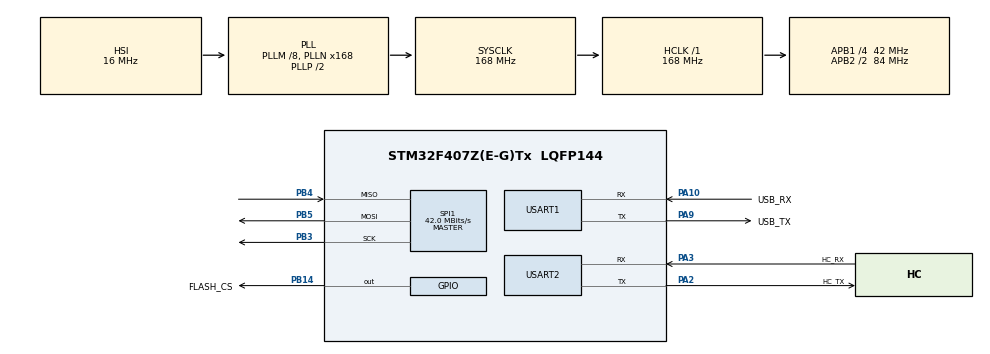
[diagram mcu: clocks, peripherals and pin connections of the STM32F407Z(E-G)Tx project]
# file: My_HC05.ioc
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Dma.Request0=USART2_TX
Dma.Request1=USART2_RX
Dma.USART2_RX.1.Direction=DMA_PERIPH_TO_MEMORY
Dma.USART2_RX.1.FIFOMode=DMA_FIFOMODE_DISABLE
Dma.USART2_RX.1.Instance=DMA1_Stream5
Dma.USART2_RX.1.MemDataAlignment=DMA_MDATAALIGN_BYTE
Dma.USART2_RX.1.MemInc=DMA_MINC_ENABLE
Dma.USART2_RX.1.Mode=DMA_CIRCULAR
Dma.USART2_RX.1.PeriphDataAlignment=DMA_PDATAALIGN_BYTE
Dma.USART2_RX.1.PeriphInc=DMA_PINC_DISABLE
Dma.USART2_RX.1.Priority=DMA_PRIORITY_LOW
Dma.USART2_TX.0.Direction=DMA_MEMORY_TO_PERIPH
Dma.USART2_TX.0.FIFOMode=DMA_FIFOMODE_DISABLE
Dma.USART2_TX.0.Instance=DMA1_Stream6
Dma.USART2_TX.0.MemDataAlignment=DMA_MDATAALIGN_BYTE
Dma.USART2_TX.0.MemInc=DMA_MINC_ENABLE
Dma.USART2_TX.0.Mode=DMA_NORMAL
Dma.USART2_TX.0.PeriphDataAlignment=DMA_PDATAALIGN_BYTE
Dma.USART2_TX.0.PeriphInc=DMA_PINC_DISABLE
Dma.USART2_TX.0.Priority=DMA_PRIORITY_LOW
Mcu.Family=STM32F4
Mcu.Name=STM32F407Z(E-G)Tx
Mcu.Package=LQFP144
NVIC.DMA1_Stream5_IRQn=true\:0\:0\:false\:false\:true\:false\:true
NVIC.DMA1_Stream6_IRQn=true\:0\:0\:false\:false\:true\:false\:true
NVIC.PriorityGroup=NVIC_PRIORITYGROUP_4
NVIC.TIM8_TRG_COM_TIM14_IRQn=true\:1\:0\:true\:false\:true\:true\:true
NVIC.USART1_IRQn=true\:0\:0\:false\:false\:true\:true\:true
NVIC.USART2_IRQn=true\:0\:0\:false\:false\:true\:true\:true
PA10.GPIO_Label=USB_RX
PA10.Mode=Asynchronous
PA10.Signal=USART1_RX
PA13.Mode=Serial_Wire
PA13.Signal=SYS_JTMS-SWDIO
PA14.Mode=Serial_Wire
PA14.Signal=SYS_JTCK-SWCLK
PA2.GPIO_Label=HC_TX
PA2.Mode=Asynchronous
PA2.Signal=USART2_TX
PA3.GPIO_Label=HC_RX
PA3.Mode=Asynchronous
PA3.Signal=USART2_RX
PA9.GPIO_Label=USB_TX
PA9.Mode=Asynchronous
PA9.Signal=USART1_TX
PB14.GPIO_Label=FLASH_CS
PB14.Signal=GPIO_Output
PB3.Mode=Full_Duplex_Master
PB3.Signal=SPI1_SCK
PB4.Mode=Full_Duplex_Master
PB4.Signal=SPI1_MISO
PB5.Mode=Full_Duplex_Master
PB5.Signal=SPI1_MOSI
PH0-OSC_IN.Mode=HSE-External-Oscillator
PH0-OSC_IN.Signal=RCC_OSC_IN
PH1-OSC_OUT.Mode=HSE-External-Oscillator
PH1-OSC_OUT.Signal=RCC_OSC_OUT
ProjectManager.HeapSize=0x200
ProjectManager.StackSize=0x400
ProjectManager.TargetToolchain=SW4STM32
RCC.48MHZClocksFreq_Value=84000000
RCC.AHBFreq_Value=168000000
RCC.APB1CLKDivider=RCC_HCLK_DIV4
RCC.APB1Freq_Value=42000000
RCC.APB1TimFreq_Value=84000000
RCC.APB2CLKDivider=RCC_HCLK_DIV2
RCC.APB2Freq_Value=84000000
RCC.APB2TimFreq_Value=168000000
RCC.CortexFreq_Value=168000000
RCC.HCLKFreq_Value=168000000
RCC.HSE_VALUE=8000000
RCC.HSI_VALUE=16000000
RCC.LSE_VALUE=32768
RCC.PLLM=8
RCC.PLLN=168
RCC.SYSCLKFreq_VALUE=168000000
RCC.SYSCLKSource=RCC_SYSCLKSOURCE_PLLCLK
RCC.VCOOutputFreq_Value=336000000
SPI1.CalculateBaudRate=42.0 MBits/s
SPI1.Direction=SPI_DIRECTION_2LINES
SPI1.Mode=SPI_MODE_MASTER
SPI1.VirtualType=VM_MASTER
TIM14.Period=4999
TIM14.Prescaler=168-1
USART1.VirtualMode=VM_ASYNC
USART2.VirtualMode=VM_ASYNC
VP_TIM14_VS_ClockSourceINT.Mode=Enable_Timer
board=custom

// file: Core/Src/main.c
/* USER CODE BEGIN Header */
/**
  ******************************************************************************
  * @file           : main.c
  * @brief          : Main program body
  ******************************************************************************
  * @attention
  *
  * <h2><center>&copy; Copyright (c) 2021 STMicroelectronics.
  * All rights reserved.</center></h2>
  *
  * This software component is licensed by ST under BSD 3-Clause license,
  * the "License"; You may not use this file except in compliance with the
  * License. You may obtain a copy of the License at:
  *                        opensource.org/licenses/BSD-3-Clause
  *
  ******************************************************************************
  */
/* USER CODE END Header */
#include "main.h"
#include "dma.h"
#include "spi.h"
#include "tim.h"
#include "usart.h"
#include "gpio.h"

/* USER CODE BEGIN Includes */
#include "hc05.h"
#include "math.h"
#include "sfud.h"
/* USER CODE END Includes */

/* USER CODE BEGIN PTD */
TxPack txpack;
RxPack rxpack;
#define SFUD_DEMO_TEST_BUFFER_SIZE                     256
float  kP,kI,kD;
/* USER CODE END PTD */

/* USER CODE BEGIN PV */
static uint8_t sfud_demo_test_buf[SFUD_DEMO_TEST_BUFFER_SIZE];
/* USER CODE END PV */

void SystemClock_Config(void);
/* USER CODE BEGIN PFP */

int __io_putchar(int ch) {
    uint8_t temp[1] = {ch};
    HAL_UART_Transmit(&huart1, temp, 1, 0xff);
    return (ch);
}

void save(void);
void read(void);
/* USER CODE END PFP */

int main(void)
{
  /* USER CODE BEGIN 1 */
    sfud_err result = SFUD_SUCCESS;
    const sfud_flash *flash = sfud_get_device_table() + 0;
    int i = 0;
    int motor,dir1;
    int dir2;

  /* USER CODE END 1 */

  /* MCU Configuration--------------------------------------------------------*/

  /* Reset of all peripherals, Initializes the Flash interface and the Systick. */
  HAL_Init();

  /* Configure the system clock */
  SystemClock_Config();

  /* Initialize all configured peripherals */
  MX_GPIO_Init();
  MX_DMA_Init();
  MX_USART1_UART_Init();
  MX_USART2_UART_Init();
  MX_SPI1_Init();
  MX_TIM14_Init();
  /* USER CODE BEGIN 2 */
  while (sfud_init() != SFUD_SUCCESS){}
  read();

  HAL_TIM_Base_Start_IT(&htim14); //�?启定时器
  HAL_UART_Receive_IT(&huart2, (uint8_t *) &uartByte, 1);
  //  readValuePack(&rxpack);
  /* USER CODE END 2 */

  /* Infinite loop */
  /* USER CODE BEGIN WHILE */
#pragma clang diagnostic push
#pragma ide diagnostic ignored "EndlessLoop"
    while (1) {
        if (readValuePack(&rxpack)) {
           if(rxpack.bools[0]){
               save();
           }
            motor=rxpack.integers[0];
            dir1 =rxpack.integers[1];
            dir2 =rxpack.integers[2];

            kP = (float)(rxpack.floats[0]);
            kI = (float)(rxpack.floats[1]);
            kD = (float)(rxpack.floats[2]);
        }

        txpack.floats[0] = 60 * sin(i / 127.0 * 3.1415926);
        txpack.floats[1] = 120 * sin(i / 127.0 * 3.1415926);
        txpack.floats[2] = 60;

        sendValuePack(&txpack);

        printf("Offset (h) 00 01 02 03 04 05 06 07 08 09 0A 0B 0C 0D 0E 0F\r\n");
        printf("%d,%d,%d,%d,%d,%d\r\n",motor,dir1,dir2,(int)(1000*kP),(int)(1000*kI),(int)(1000*kD));

        i++;
        if(i==255)
        {
            i=0;
        }

        HAL_Delay(10);
    /* USER CODE END WHILE */

    /* USER CODE BEGIN 3 */
    }
#pragma clang diagnostic pop
  /* USER CODE END 3 */
}

void SystemClock_Config(void)
{
  RCC_OscInitTypeDef RCC_OscInitStruct = {0};
  RCC_ClkInitTypeDef RCC_ClkInitStruct = {0};

  /** Configure the main internal regulator output voltage
  */
  __HAL_RCC_PWR_CLK_ENABLE();
  __HAL_PWR_VOLTAGESCALING_CONFIG(PWR_REGULATOR_VOLTAGE_SCALE1);
  /** Initializes the RCC Oscillators according to the specified parameters
  * in the RCC_OscInitTypeDef structure.
  */
  RCC_OscInitStruct.OscillatorType = RCC_OSCILLATORTYPE_HSI;
  RCC_OscInitStruct.HSIState = RCC_HSI_ON;
  RCC_OscInitStruct.HSICalibrationValue = RCC_HSICALIBRATION_DEFAULT;
  RCC_OscInitStruct.PLL.PLLState = RCC_PLL_ON;
  RCC_OscInitStruct.PLL.PLLSource = RCC_PLLSOURCE_HSI;
  RCC_OscInitStruct.PLL.PLLM = 8;
  RCC_OscInitStruct.PLL.PLLN = 168;
  RCC_OscInitStruct.PLL.PLLP = RCC_PLLP_DIV2;
  RCC_OscInitStruct.PLL.PLLQ = 4;
  if (HAL_RCC_OscConfig(&RCC_OscInitStruct) != HAL_OK)
  {
    Error_Handler();
  }
  /** Initializes the CPU, AHB and APB buses clocks
  */
  RCC_ClkInitStruct.ClockType = RCC_CLOCKTYPE_HCLK|RCC_CLOCKTYPE_SYSCLK
                              |RCC_CLOCKTYPE_PCLK1|RCC_CLOCKTYPE_PCLK2;
  RCC_ClkInitStruct.SYSCLKSource = RCC_SYSCLKSOURCE_PLLCLK;
  RCC_ClkInitStruct.AHBCLKDivider = RCC_SYSCLK_DIV1;
  RCC_ClkInitStruct.APB1CLKDivider = RCC_HCLK_DIV4;
  RCC_ClkInitStruct.APB2CLKDivider = RCC_HCLK_DIV2;

  if (HAL_RCC_ClockConfig(&RCC_ClkInitStruct, FLASH_LATENCY_5) != HAL_OK)
  {
    Error_Handler();
  }
}

/* USER CODE BEGIN 4 */
void read(void)
{
    sfud_err result = SFUD_SUCCESS;
    const sfud_flash *flash = sfud_get_device_table() + 0;
    uint16_t P,I,D;
    printf("Offset (h) 00 01 02 03 04 05 06 07 08 09 0A 0B 0C 0D 0E 0F\r\n");
    result = sfud_read(flash, 0, sizeof(sfud_demo_test_buf), sfud_demo_test_buf);  //读取flash数据存于PID
    if (result == SFUD_SUCCESS) {
        P = (sfud_demo_test_buf[1]<<8) + sfud_demo_test_buf[0];             //
        kP = (float)(P/1000.0);
        I = (sfud_demo_test_buf[4]<<8) + sfud_demo_test_buf[3];
        kI = (float)(I/1000.0);
        D = (sfud_demo_test_buf[6]<<8) + sfud_demo_test_buf[5];
        kD = (float)(D/1000.0);
    }
}

void save(void)
{
    sfud_err result = SFUD_SUCCESS;
    const sfud_flash *flash = sfud_get_device_table() + 0;
    uint16_t Calculating;
    Calculating = (uint16_t) (rxpack.floats[0] * 1000);  //P
    sfud_demo_test_buf[0] =  (uint16_t)(Calculating) & 0xff;        //�??8�??
    sfud_demo_test_buf[1] =  (uint16_t)(Calculating >> 8) & 0xff;

    Calculating = (uint16_t) (rxpack.floats[1] * 1000);  //I
    sfud_demo_test_buf[3] = (Calculating) & 0xff;  //�??8�??
    sfud_demo_test_buf[4] = (Calculating >> 8) & 0xff;

    Calculating = (uint16_t) (rxpack.floats[2] * 1000);  //D
    sfud_demo_test_buf[5] = (Calculating) & 0xff;  //�??8�??
    sfud_demo_test_buf[6] = (Calculating >> 8) & 0xff;

    result = sfud_erase(flash, 0, sizeof(sfud_demo_test_buf));
    if (result == SFUD_SUCCESS) {
        printf("*********************************\r\n");}

    result = sfud_write(flash, 0, sizeof(sfud_demo_test_buf), sfud_demo_test_buf);
    if (result == SFUD_SUCCESS) {
        printf("---------------------------------\r\n");}
}
/* USER CODE BEGIN 4 */
/* USER CODE END 4 */

void Error_Handler(void)
{
    __disable_irq();
    while (1) {
    }
}

/************************ (C) COPYRIGHT STMicroelectronics *****END OF FILE****/
